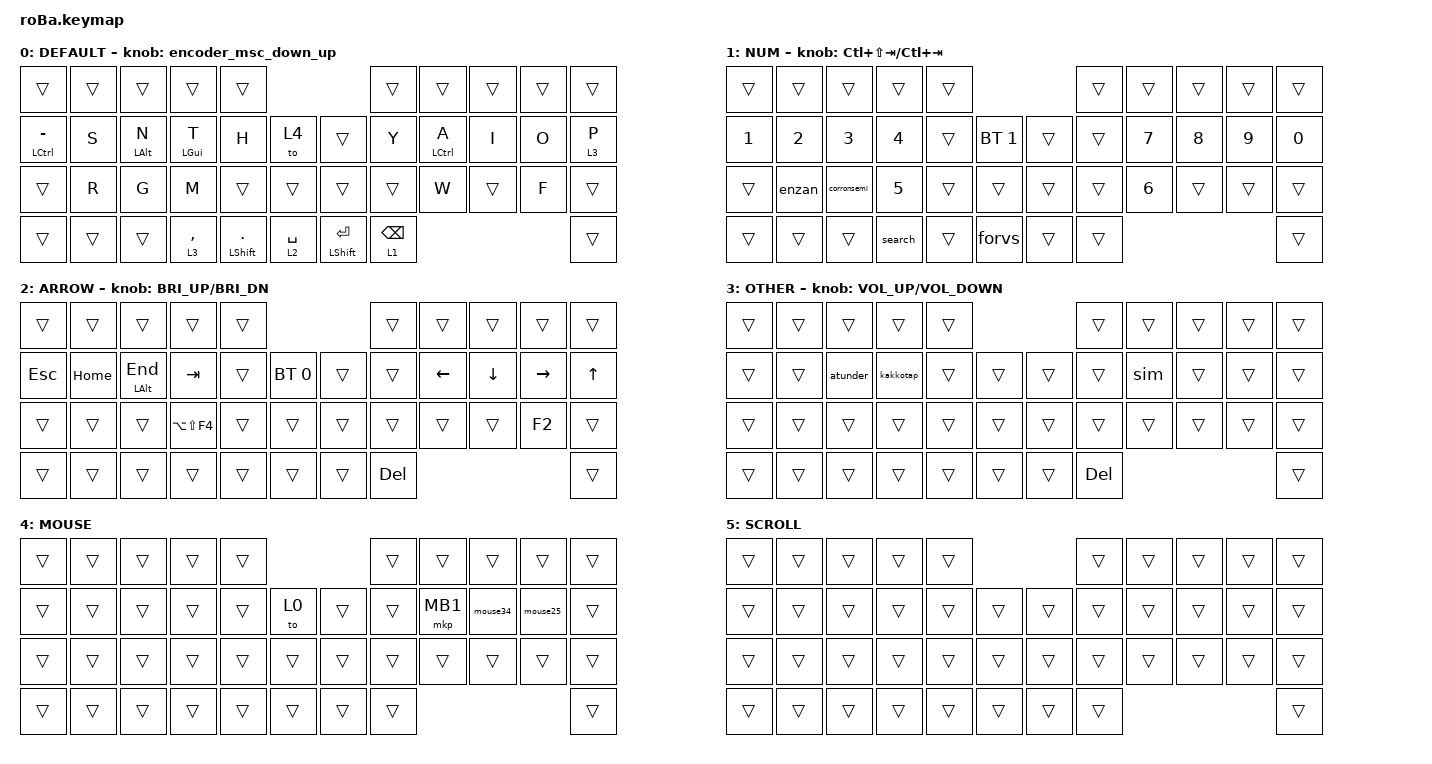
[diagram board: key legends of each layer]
#define ZMK_POINTING_DEFAULT_SCRL_VAL 80

#include <behaviors.dtsi>
#include <dt-bindings/zmk/bt.h>
#include <dt-bindings/zmk/keys.h>
#include <dt-bindings/zmk/pointing.h>

&mt {
    flavor = "balanced";
    quick-tap-ms = <0>;
};

&trackball {
    automouse-layer = <4>;

    arrows2 {
        layers = <3>;
        bindings =
            <&kp LC(LG(RIGHT))>,
            <&kp  LC(LG(LEFT))>,
            <&kp  F13>,
            <&kp F13>;

        tick = <150>;
        wait-ms = <5>;
        tap-ms = <5>;
    };

    arrows3 {
        layers = <2>;
        bindings =
            <&kp LC(PAGE_DOWN)>,
            <&kp  LC(PAGE_UP)>,
            <&kp  LG(TAB)>,
            <&kp LG(X)>;

        tick = <150>;
        wait-ms = <5>;
        tap-ms = <5>;
    };
};

/ {
    combos {
        compatible = "zmk,combos";

        co_MUHENKAN {
            bindings = <&kp INT_MUHENKAN>;
            key-positions = <12 13>;
            layers = <0 4>;
            timeout-ms = <70>;
        };

        COMBO_HENKAN {
            bindings = <&henkanCut>;
            key-positions = <18 19>;
            layers = <0 4>;
        };

        COMBO_list {
            bindings = <&FavList>;
            key-positions = <20 19>;
            layers = <0 4>;
        };

        COMBO_shortcuts {
            bindings = <&shortcuts>;
            key-positions = <20 18>;
            layers = <0 4>;
        };

        COMBO_lock {
            bindings = <&Lock>;
            key-positions = <11 13>;
            layers = <0 4>;
        };

        c {
            bindings = <&kp C>;
            key-positions = <41 18>;
        };

        comma {
            bindings = <&kp Q>;
            key-positions = <38 10>;
        };

        l {
            bindings = <&kp L>;
            key-positions = <41 21>;
        };

        co_teams {
            bindings = <&teams>;
            key-positions = <41 17>;
        };

        b {
            bindings = <&kp B>;
            key-positions = <11 12>;
        };

        z {
            bindings = <&kp Z>;
            key-positions = <38 11>;
        };

        d {
            bindings = <&kp D>;
            key-positions = <38 13>;
        };

        u {
            bindings = <&kp U>;
            key-positions = <20 41>;
            timeout-ms = <200>;
        };

        e {
            bindings = <&kp E>;
            key-positions = <41 19>;
            timeout-ms = <200>;
        };

        k {
            bindings = <&kp K>;
            key-positions = <38 12>;
            timeout-ms = <100>;
        };

        x {
            bindings = <&kp X>;
            key-positions = <38 23>;
        };

        v {
            bindings = <&kp V>;
            key-positions = <41 32>;
        };

        j {
            bindings = <&kp J>;
            key-positions = <38 25>;
        };
    };

    macros {
        kakko: to_layer_0 {
            compatible = "zmk,behavior-macro";
            #binding-cells = <0>;
            bindings = <&kp INT_MUHENKAN &kp LS(N8) &kp LS(N9) &kp LEFT_ARROW>;
            label = "TO_LAYER_0";
        };

        kakko2: kakko2 {
            compatible = "zmk,behavior-macro";
            #binding-cells = <0>;
            bindings = <&kp INT_MUHENKAN &kp LS(COMMA) &kp LS(PERIOD) &kp LEFT_ARROW>;
            label = "KAKKO2";
        };

        kakko3: kakko3 {
            compatible = "zmk,behavior-macro";
            #binding-cells = <0>;
            bindings = <&kp RIGHT_BRACKET &kp BACKSLASH &kp LEFT>;
            label = "KAKKO3";
        };

        atmark: atmark {
            compatible = "zmk,behavior-macro";
            #binding-cells = <0>;
            bindings = <&kp INT_MUHENKAN &kp LEFT_BRACKET>;
            label = "ATMARK";
        };

        underbar: underbar {
            compatible = "zmk,behavior-macro";
            #binding-cells = <0>;
            bindings = <&kp INT_HENKAN &kp A &kp N &kp N &kp D &kp A &kp MINUS &kp B &kp A &kp MINUS &kp SPACE &kp ENTER &kp INT_MUHENKAN>;
            label = "UNDERBAR";
        };
    };

    behaviors {
        encoder_msc_down_up: encoder_msc_down_up {
            compatible = "zmk,behavior-sensor-rotate";
            label = "ENCODER_MSC_DOWN_UP";
            #sensor-binding-cells = <0>;
            bindings = <&msc SCRL_UP>, <&msc SCRL_DOWN>;

            tap-ms = <20>;
        };

        sim: sim {
            compatible = "zmk,behavior-tap-dance";
            label = "SIM";
            #binding-cells = <0>;
            bindings = <&kp F5>, <&kp F10>, <&kp F11>;

            tapping-term-ms = <280>;
        };

        search: search {
            compatible = "zmk,behavior-tap-dance";
            label = "SEARCH";
            #binding-cells = <0>;
            bindings = <&kp F12>, <&kp LS(LA(F12))>;

            tapping-term-ms = <280>;
        };

        forvs: forvs {
            compatible = "zmk,behavior-tap-dance";
            label = "FORVS";
            #binding-cells = <0>;
            bindings = <&kp LS(LC(F))>, <&kp LS(LC(E))>;

            tapping-term-ms = <280>;
        };

        teams: teams {
            compatible = "zmk,behavior-tap-dance";
            label = "TEAMS";
            #binding-cells = <0>;
            bindings = <&kp LC(LS(M))>, <&kp LC(LS(H))>;

            tapping-term-ms = <280>;
        };

        kakkotap: kakkotap {
            compatible = "zmk,behavior-tap-dance";
            label = "KAKKOTAP";
            #binding-cells = <0>;
            bindings = <&kakko>, <&kakko2>, <&kakko3>;

            tapping-term-ms = <300>;
        };

        atunder: atunder {
            compatible = "zmk,behavior-tap-dance";
            label = "ATUNDER";
            #binding-cells = <0>;
            bindings = <&kp LS(INT_RO)>, <&atmark>, <&kp LS(EQUAL)>;

            tapping-term-ms = <280>;
        };

        enzan: enzan {
            compatible = "zmk,behavior-tap-dance";
            label = "ENZAN";
            #binding-cells = <0>;
            bindings = <&kp SLASH>, <&kp LS(SEMICOLON)>, <&kp LS(SQT)>;

            tapping-term-ms = <270>;
        };

        henkanCut: henkanCut {
            compatible = "zmk,behavior-tap-dance";
            label = "HENKANCUT";
            #binding-cells = <0>;
            bindings = <&kp INT_HENKAN>, <&kp LC(X)>;

            tapping-term-ms = <270>;
        };

        shortcuts: shortcuts {
            compatible = "zmk,behavior-tap-dance";
            label = "SHORTCUTS";
            #binding-cells = <0>;
            bindings = <&kp LC(C)>, <&kp LC(V)>;

            tapping-term-ms = <270>;
        };

        Lock: Lock {
            compatible = "zmk,behavior-tap-dance";
            label = "LOCK";
            #binding-cells = <0>;
            bindings = <&kp LG(E)>, <&kp LG(L)>;

            tapping-term-ms = <270>;
        };

        corronsemi: corronsemi {
            compatible = "zmk,behavior-tap-dance";
            label = "CORRONSEMI";
            #binding-cells = <0>;
            bindings = <&kp APOS>, <&kp SEMICOLON>;

            tapping-term-ms = <270>;
        };

        FavList: FavList {
            compatible = "zmk,behavior-tap-dance";
            label = "FAVLIST";
            #binding-cells = <0>;
            bindings = <&kp LS(LC(O))>, <&kp LC(L)>;

            tapping-term-ms = <270>;
        };

        mouse34: mouse34 {
            compatible = "zmk,behavior-tap-dance";
            label = "MOUSE34";
            #binding-cells = <0>;
            bindings = <&mkp MB3>, <&mkp MB4>;

            tapping-term-ms = <265>;
        };

        mouse25: mouse25 {
            compatible = "zmk,behavior-tap-dance";
            label = "MOUSE25";
            #binding-cells = <0>;
            bindings = <&mkp MB2>, <&mkp MB5>;

            tapping-term-ms = <265>;
        };
    };

    keymap {
        compatible = "zmk,keymap";

        DEFAULT {
            bindings = <
&trans           &trans  &trans          &trans          &trans                                                    &trans           &trans       &trans  &trans  &trans
&mt LCTRL MINUS  &kp S   &mt LEFT_ALT N  &mt LEFT_GUI T  &kp H                  &to 4            &trans            &kp Y            &mt LCTRL A  &kp I   &kp O   &lt 3 P
&trans           &kp R   &kp G           &kp M           &trans                 &trans           &trans            &trans           &kp W        &trans  &kp F   &trans
&trans           &trans  &trans          &lt 3 COMMA     &mt LEFT_SHIFT PERIOD  &lt 2 SPACE      &mt LSHIFT ENTER  &lt 1 BACKSPACE                               &trans
            >;

            sensor-bindings = <&encoder_msc_down_up>;
        };

        NUM {
            bindings = <
&trans        &trans        &trans        &trans        &trans                            &trans  &trans        &trans  &trans  &trans
&kp NUMBER_1  &kp NUMBER_2  &kp NUMBER_3  &kp NUMBER_4  &trans  &bt BT_SEL 1      &trans  &trans  &kp N7        &kp N8  &kp N9  &kp N0
&trans        &enzan        &corronsemi   &kp N5        &trans  &trans            &trans  &trans  &kp NUMBER_6  &trans  &trans  &trans
&trans        &trans        &trans        &search       &trans  &forvs            &trans  &trans                                &trans
            >;

            sensor-bindings = <&inc_dec_kp LC(LS(TAB)) LC(TAB)>;
        };

        ARROW {
            bindings = <
&trans      &trans    &trans            &trans          &trans                            &trans      &trans    &trans    &trans     &trans
&kp ESCAPE  &kp HOME  &mt LEFT_ALT END  &kp TAB         &trans  &bt BT_SEL 0      &trans  &trans      &kp LEFT  &kp DOWN  &kp RIGHT  &kp UP_ARROW
&trans      &trans    &trans            &kp LA(LS(F4))  &trans  &trans            &trans  &trans      &trans    &trans    &kp F2     &trans
&trans      &trans    &trans            &trans          &trans  &trans            &trans  &kp DELETE                                 &trans
            >;

            sensor-bindings = <&inc_dec_kp C_BRI_UP C_BRI_DN>;
        };

        OTHER {
            bindings = <
&trans  &trans  &trans    &trans     &trans                      &trans      &trans  &trans  &trans  &trans
&trans  &trans  &atunder  &kakkotap  &trans  &trans      &trans  &trans      &sim    &trans  &trans  &trans
&trans  &trans  &trans    &trans     &trans  &trans      &trans  &trans      &trans  &trans  &trans  &trans
&trans  &trans  &trans    &trans     &trans  &trans      &trans  &kp DELETE                          &trans
            >;

            sensor-bindings = <&inc_dec_kp C_VOLUME_UP C_VOLUME_DOWN>;
        };

        MOUSE {
            bindings = <
&trans  &trans  &trans  &trans  &trans                      &trans  &trans    &trans    &trans    &trans
&trans  &trans  &trans  &trans  &trans  &to 0       &trans  &trans  &mkp MB1  &mouse34  &mouse25  &trans
&trans  &trans  &trans  &trans  &trans  &trans      &trans  &trans  &trans    &trans    &trans    &trans
&trans  &trans  &trans  &trans  &trans  &trans      &trans  &trans                                &trans
            >;
        };

        SCROLL {
            bindings = <
&trans  &trans  &trans  &trans  &trans                      &trans  &trans  &trans  &trans  &trans
&trans  &trans  &trans  &trans  &trans  &trans      &trans  &trans  &trans  &trans  &trans  &trans
&trans  &trans  &trans  &trans  &trans  &trans      &trans  &trans  &trans  &trans  &trans  &trans
&trans  &trans  &trans  &trans  &trans  &trans      &trans  &trans                          &trans
            >;
        };
    };
};
